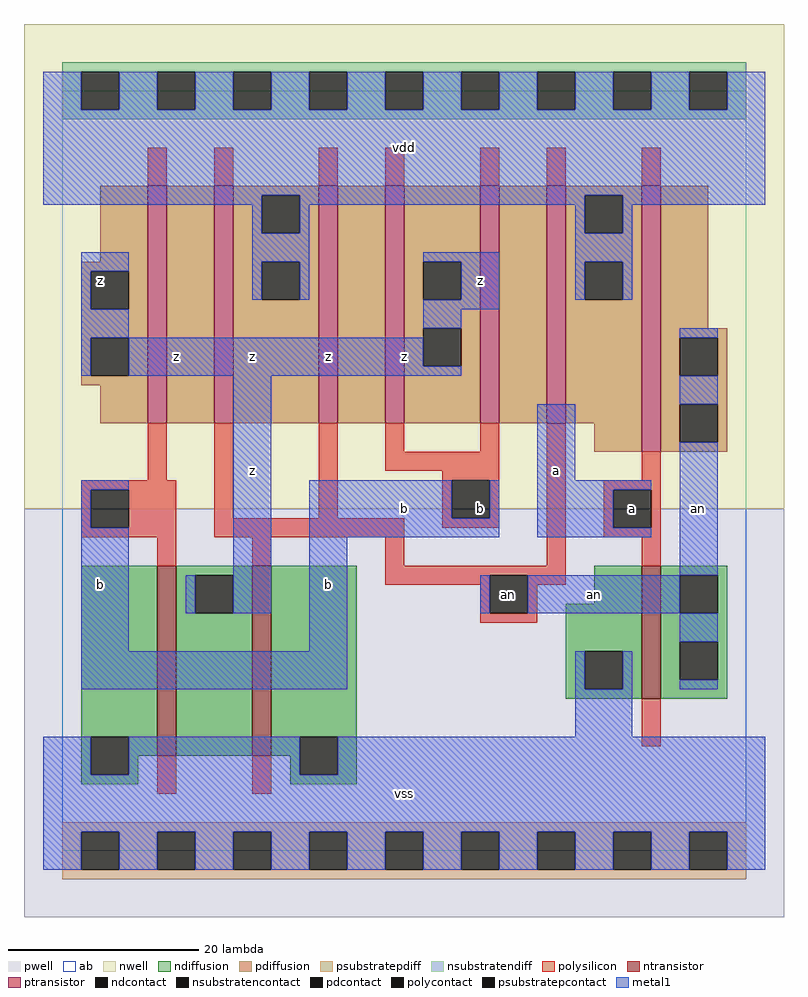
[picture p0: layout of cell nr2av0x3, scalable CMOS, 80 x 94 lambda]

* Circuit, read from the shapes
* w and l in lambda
.subckt nr2av0x3 a an b vdd vss z
M1 z b vss vss nfet w=20 l=2
M2 vss an z vss nfet w=20 l=2
M3 an a vss vss nfet w=14 l=2
M4 n1 b z vdd pfet w=25 l=2
M5 vdd an n1 vdd pfet w=25 l=2
M6 n2 an vdd vdd pfet w=25 l=2
M7 z b n2 vdd pfet w=25 l=2
M8 n3 b z vdd pfet w=25 l=2
M9 vdd an n3 vdd pfet w=25 l=2
M10 an a vdd vdd pfet w=28 l=2
.ends

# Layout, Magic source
magic
tech scmos
<< ab >>
rect 0 0 72 80
<< pwell >>
rect -4 -7 76 36
<< nwell >>
rect -4 36 76 87
<< polysilicon >>
rect 9 70 11 74
rect 16 70 18 74
rect 27 70 29 74
rect 34 70 36 74
rect 44 70 46 74
rect 51 70 53 74
rect 61 70 63 74
rect 9 39 11 45
rect 2 38 12 39
rect 2 34 3 38
rect 7 34 12 38
rect 2 33 12 34
rect 16 35 18 45
rect 27 35 29 45
rect 34 42 36 45
rect 44 42 46 45
rect 34 40 46 42
rect 40 39 46 40
rect 40 35 41 39
rect 45 35 46 39
rect 16 33 36 35
rect 40 34 46 35
rect 10 30 12 33
rect 20 30 22 33
rect 34 30 36 33
rect 51 30 53 45
rect 61 39 63 42
rect 57 38 63 39
rect 57 34 58 38
rect 62 34 63 38
rect 57 33 63 34
rect 61 30 63 33
rect 34 29 53 30
rect 34 28 45 29
rect 44 25 45 28
rect 49 28 53 29
rect 49 25 50 28
rect 44 24 50 25
rect 10 6 12 10
rect 20 6 22 10
rect 61 11 63 16
<< ndiffusion >>
rect 2 12 10 30
rect 2 8 3 12
rect 7 10 10 12
rect 12 29 20 30
rect 12 25 14 29
rect 18 25 20 29
rect 12 10 20 25
rect 22 12 31 30
rect 56 26 61 30
rect 53 21 61 26
rect 53 17 55 21
rect 59 17 61 21
rect 53 16 61 17
rect 63 29 70 30
rect 63 25 65 29
rect 69 25 70 29
rect 63 22 70 25
rect 63 18 65 22
rect 69 18 70 22
rect 63 16 70 18
rect 22 10 25 12
rect 7 8 8 10
rect 2 7 8 8
rect 24 8 25 10
rect 29 8 31 12
rect 24 7 31 8
<< pdiffusion >>
rect 4 62 9 70
rect 2 61 9 62
rect 2 57 3 61
rect 7 57 9 61
rect 2 54 9 57
rect 2 50 3 54
rect 7 50 9 54
rect 2 49 9 50
rect 4 45 9 49
rect 11 45 16 70
rect 18 69 27 70
rect 18 65 21 69
rect 25 65 27 69
rect 18 62 27 65
rect 18 58 21 62
rect 25 58 27 62
rect 18 45 27 58
rect 29 45 34 70
rect 36 62 44 70
rect 36 58 38 62
rect 42 58 44 62
rect 36 55 44 58
rect 36 51 38 55
rect 42 51 44 55
rect 36 45 44 51
rect 46 45 51 70
rect 53 69 61 70
rect 53 65 55 69
rect 59 65 61 69
rect 53 62 61 65
rect 53 58 55 62
rect 59 58 61 62
rect 53 45 61 58
rect 56 42 61 45
rect 63 55 68 70
rect 63 54 70 55
rect 63 50 65 54
rect 69 50 70 54
rect 63 47 70 50
rect 63 43 65 47
rect 69 43 70 47
rect 63 42 70 43
<< metal1 >>
rect -2 78 2 82
rect 6 78 10 82
rect 14 78 18 82
rect 22 78 26 82
rect 30 78 34 82
rect 38 78 42 82
rect 46 78 50 82
rect 54 78 58 82
rect 62 78 66 82
rect 70 78 74 82
rect -2 69 74 78
rect -2 68 21 69
rect 20 65 21 68
rect 25 68 55 69
rect 25 65 26 68
rect 2 61 7 63
rect 2 57 3 61
rect 20 62 26 65
rect 54 65 55 68
rect 59 68 74 69
rect 59 65 60 68
rect 20 58 21 62
rect 25 58 26 62
rect 38 62 46 63
rect 42 58 46 62
rect 54 62 60 65
rect 54 58 55 62
rect 59 58 60 62
rect 2 54 7 57
rect 38 57 46 58
rect 38 55 42 57
rect 2 50 3 54
rect 7 51 38 54
rect 7 50 42 51
rect 65 54 69 55
rect 2 38 7 39
rect 2 34 3 38
rect 2 21 7 34
rect 13 25 14 29
rect 18 25 22 50
rect 65 47 69 50
rect 50 39 54 47
rect 26 35 41 39
rect 45 35 46 39
rect 26 33 46 35
rect 50 38 62 39
rect 50 34 58 38
rect 50 33 62 34
rect 26 21 30 33
rect 65 29 69 43
rect 44 25 45 29
rect 49 25 65 29
rect 65 22 69 25
rect 2 17 30 21
rect 54 17 55 21
rect 59 17 60 21
rect 65 17 69 18
rect 54 12 60 17
rect -2 8 3 12
rect 7 8 25 12
rect 29 8 74 12
rect -2 2 74 8
rect -2 -2 2 2
rect 6 -2 10 2
rect 14 -2 18 2
rect 22 -2 26 2
rect 30 -2 34 2
rect 38 -2 42 2
rect 46 -2 50 2
rect 54 -2 58 2
rect 62 -2 66 2
rect 70 -2 74 2
<< ntransistor >>
rect 10 10 12 30
rect 20 10 22 30
rect 61 16 63 30
<< ptransistor >>
rect 9 45 11 70
rect 16 45 18 70
rect 27 45 29 70
rect 34 45 36 70
rect 44 45 46 70
rect 51 45 53 70
rect 61 42 63 70
<< polycontact >>
rect 3 34 7 38
rect 41 35 45 39
rect 58 34 62 38
rect 45 25 49 29
<< ndcontact >>
rect 3 8 7 12
rect 14 25 18 29
rect 55 17 59 21
rect 65 25 69 29
rect 65 18 69 22
rect 25 8 29 12
<< pdcontact >>
rect 3 57 7 61
rect 3 50 7 54
rect 21 65 25 69
rect 21 58 25 62
rect 38 58 42 62
rect 38 51 42 55
rect 55 65 59 69
rect 55 58 59 62
rect 65 50 69 54
rect 65 43 69 47
<< psubstratepcontact >>
rect 2 -2 6 2
rect 10 -2 14 2
rect 18 -2 22 2
rect 26 -2 30 2
rect 34 -2 38 2
rect 42 -2 46 2
rect 50 -2 54 2
rect 58 -2 62 2
rect 66 -2 70 2
<< nsubstratencontact >>
rect 2 78 6 82
rect 10 78 14 82
rect 18 78 22 82
rect 26 78 30 82
rect 34 78 38 82
rect 42 78 46 82
rect 50 78 54 82
rect 58 78 62 82
rect 66 78 70 82
<< psubstratepdiff >>
rect 0 2 72 3
rect 0 -2 2 2
rect 6 -2 10 2
rect 14 -2 18 2
rect 22 -2 26 2
rect 30 -2 34 2
rect 38 -2 42 2
rect 46 -2 50 2
rect 54 -2 58 2
rect 62 -2 66 2
rect 70 -2 72 2
rect 0 -3 72 -2
<< nsubstratendiff >>
rect 0 82 72 83
rect 0 78 2 82
rect 6 78 10 82
rect 14 78 18 82
rect 22 78 26 82
rect 30 78 34 82
rect 38 78 42 82
rect 46 78 50 82
rect 54 78 58 82
rect 62 78 66 82
rect 70 78 72 82
rect 0 77 72 78
<< labels >>
rlabel polycontact 47 27 47 27 6 an
rlabel metal1 4 28 4 28 6 b
rlabel pdcontact 4 60 4 60 6 z
rlabel metal1 20 40 20 40 6 z
rlabel metal1 20 52 20 52 6 z
rlabel metal1 12 52 12 52 6 z
rlabel metal1 36 6 36 6 6 vss
rlabel metal1 28 28 28 28 6 b
rlabel metal1 36 36 36 36 6 b
rlabel metal1 36 52 36 52 6 z
rlabel metal1 28 52 28 52 6 z
rlabel metal1 36 74 36 74 6 vdd
rlabel polycontact 44 36 44 36 6 b
rlabel metal1 52 40 52 40 6 a
rlabel metal1 44 60 44 60 6 z
rlabel metal1 56 27 56 27 6 an
rlabel polycontact 60 36 60 36 6 a
rlabel metal1 67 36 67 36 6 an
<< end >>
